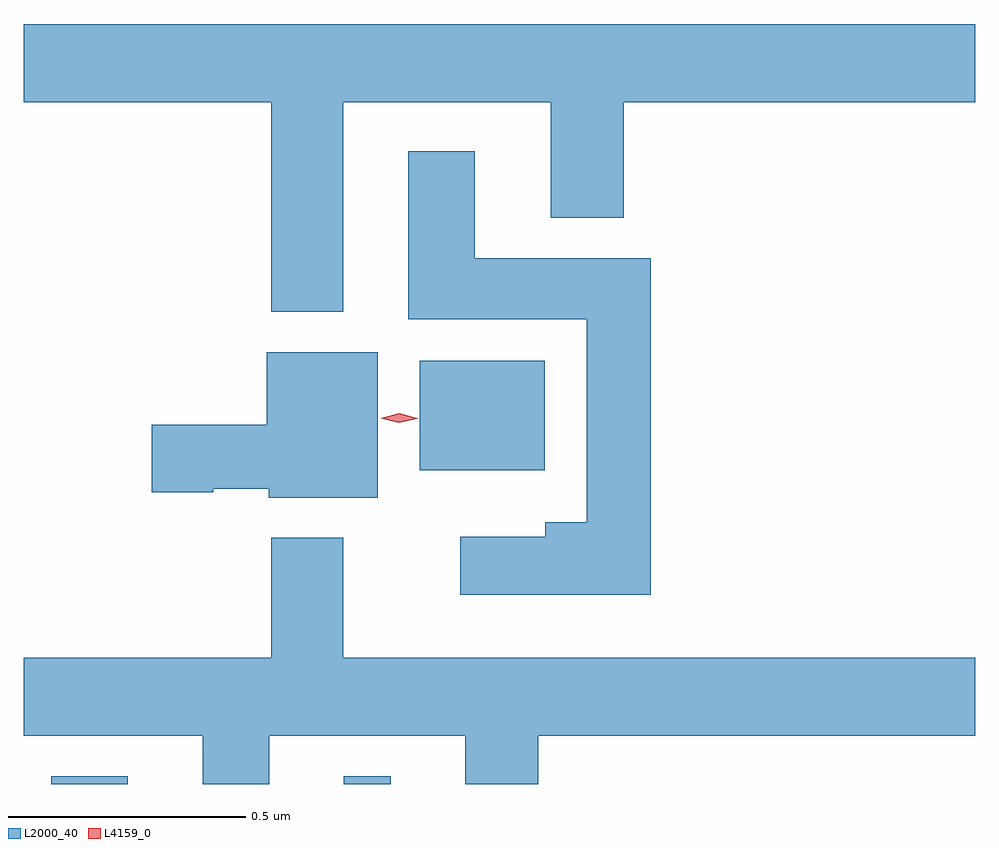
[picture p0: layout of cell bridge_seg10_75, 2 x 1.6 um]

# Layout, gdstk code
import gdstk
lib = gdstk.Library(unit=1e-6, precision=1e-09)
def R(c, l, rs):  # rectangles x0, y0, x1, y1
    for r in rs: c.add(gdstk.rectangle(r[:2], r[2:], *l))
def P(c, l, *ps):  # polygons
    for p in ps: c.add(gdstk.Polygon(p, *l))
L2000_40 = (2000, 40)
L4159_0 = (4159, 0)

bridge_seg10_75 = lib.new_cell('bridge_seg10_75')
R(bridge_seg10_75, L2000_40, [(689.933,1306.875,690.094,1306.891), (690.548,1306.875,690.646,1306.891), (690.707,1307.534,690.97,1307.764)])
P(bridge_seg10_75, L2000_40, [(690.547,1308.308),(690.983,1308.308),(690.983,1308.065),(691.136,1308.065),(691.136,1308.308),(691.875,1308.308),(691.875,1308.472),(689.875,1308.472),(689.875,1308.308),(690.395,1308.308),(690.395,1307.867),(690.547,1307.867)],
  [(691.193,1307.98),(690.823,1307.98),(690.823,1308.205),(690.683,1308.205),(690.683,1307.852),(691.058,1307.852),(691.058,1307.425),(690.971,1307.425),(690.971,1307.395),(690.792,1307.395),(690.792,1307.273),(691.193,1307.273)],
  [(690.619,1307.782),(690.386,1307.782),(690.386,1307.63),(690.144,1307.63),(690.144,1307.488),(690.273,1307.488),(690.273,1307.495),(690.39,1307.495),(690.39,1307.477),(690.619,1307.477)],
  [(690.391,1306.976),(690.803,1306.976),(690.803,1306.875),(690.956,1306.875),(690.956,1306.976),(691.875,1306.976),(691.875,1307.14),(690.547,1307.14),(690.547,1307.392),(690.395,1307.392),(690.395,1307.14),(689.875,1307.14),(689.875,1306.976),(690.251,1306.976),(690.251,1306.875),(690.391,1306.875)])
P(bridge_seg10_75, L4159_0, [(690.663,1307.634),(690.625,1307.644),(690.625,1307.644),(690.625,1307.644),(690.664,1307.654),(690.702,1307.644),(690.702,1307.644),(690.702,1307.643)])

lib.write_gds('bridge_seg10_75.gds')
